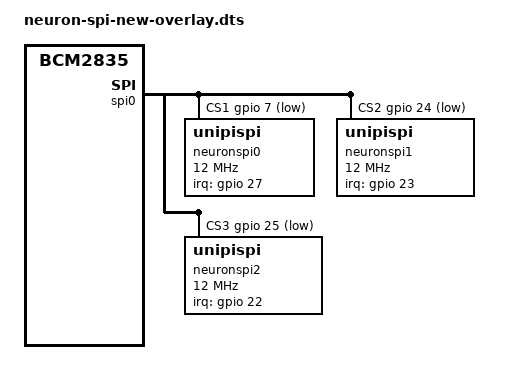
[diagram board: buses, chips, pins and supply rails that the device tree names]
/dts-v1/;
/plugin/;

/ {
	compatible = "brcm,bcm2835";

    /* the cs and interrupt pin of the neuron-controller */
    fragment@0 {
        target = <&gpio>;
        __overlay__ {
            spi0_cs_pins: spi0_cs_pins {
				brcm,pins = <8 7 24 25>;
				brcm,function = <1>;
				brcm,pull = <0>;
            };

			neuron_0_irq_pin: neuron_0_irq_pin {
				brcm,pins = <27>;
				brcm,function = <0>;
				brcm,pull = <1>;
			};

			neuron_1_irq_pin: neuron_1_irq_pin {
				brcm,pins = <23>;
				brcm,function = <0>;
				brcm,pull = <1>;
			};

			neuron_2_irq_pin: neuron_2_irq_pin {
				brcm,pins = <22>;
				brcm,function = <0>;
				brcm,pull = <1>;
			};
        };
    };

    fragment@1 {
        target = <&spi0>;
        __overlay__ {
            status = "okay";
			pinctrl-0 = <&spi0_pins &spi0_cs_pins>;
			cs-gpios = <&gpio 8 1>, <&gpio 7 1>, <&gpio 24 1>, <&gpio 25 1>;
        };
    };

    fragment@2 {
	    target = <&spidev1>;
	    __overlay__ {
	        status = "disabled";
	    };
    };

	fragment@3 {
		target = <&spi0>;
		__overlay__ {
		    #address-cells = <1>;
		    #size-cells = <0>;
			neuronspi0: neuronspi@0 {
				compatible = "unipispi";
				reg = <1>;
				spi-max-frequency = <12000000>;
				status = "okay";
                pinctrl-names = "default";
                pinctrl-0 = <&neuron_0_irq_pin>;
                interrupt-parent = <&gpio>;
                interrupts = <27 1>;
				neuron-board-index = <0>;
				neuron-probe-always-succeeds = <0>;
			};
			neuronspi1: neuronspi@1 {
				compatible = "unipispi";
				reg = <2>;
				spi-max-frequency = <12000000>;
				status = "okay";
                pinctrl-names = "default";
                pinctrl-0 = <&neuron_1_irq_pin>;
                interrupt-parent = <&gpio>;
                interrupts = <23 1>;
				neuron-board-index = <1>;
				neuron-probe-always-succeeds = <0>;
			};
			neuronspi2: neuronspi@2 {
				compatible = "unipispi";
				reg = <3>;
				spi-max-frequency = <12000000>;
				status = "okay";
                pinctrl-names = "default";
                pinctrl-0 = <&neuron_2_irq_pin>;
                interrupt-parent = <&gpio>;
                interrupts = <22 1>;
				neuron-board-index = <2>;
				neuron-probe-always-succeeds = <0>;
			};
		};
	};

	__overrides__ {
        probe0-succeeds = <&neuronspi0>,"neuron-probe-always-succeeds:0";
        probe1-succeeds = <&neuronspi1>,"neuron-probe-always-succeeds:0";
        probe2-succeeds = <&neuronspi2>,"neuron-probe-always-succeeds:0";
        frequency0 = <&neuronspi0>,"spi-max-frequency:0";
        frequency1 = <&neuronspi1>,"spi-max-frequency:0";
        frequency2 = <&neuronspi2>,"spi-max-frequency:0";
	};
};
